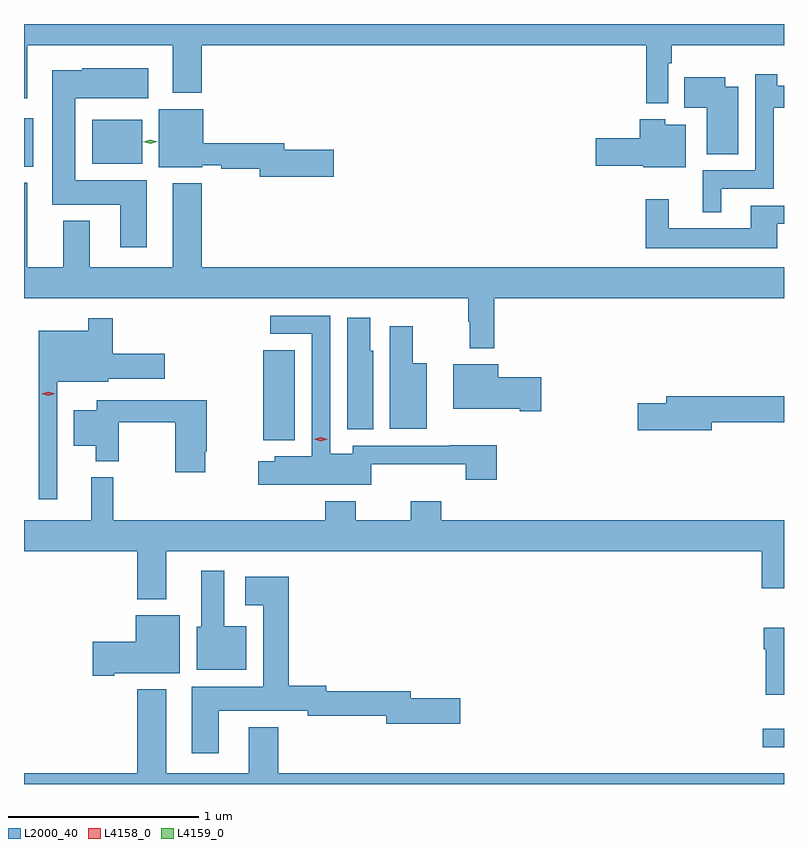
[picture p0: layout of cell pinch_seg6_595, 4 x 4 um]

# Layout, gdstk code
import gdstk
lib = gdstk.Library(unit=1e-6, precision=1e-09)
def R(c, l, rs):  # rectangles x0, y0, x1, y1
    for r in rs: c.add(gdstk.rectangle(r[:2], r[2:], *l))
def P(c, l, *ps):  # polygons
    for p in ps: c.add(gdstk.Polygon(p, *l))
L2000_40 = (2000, 40)
L4158_0 = (4158, 0)
L4159_0 = (4159, 0)

pinch_seg6_595 = lib.new_cell('pinch_seg6_595')
R(pinch_seg6_595, L2000_40, [(498.771,980.936,498.883,981.033), (496.142,982.553,496.309,983.027), (494.883,983.993,494.932,984.247), (495.242,984.008,495.505,984.238)])
P(pinch_seg6_595, L2000_40, [(494.883,984.351),(494.899,984.351),(494.899,984.632),(495.665,984.632),(495.665,984.38),(495.818,984.38),(495.818,984.632),(498.157,984.632),(498.157,984.326),(498.273,984.326),(498.273,984.536),(498.293,984.536),(498.293,984.632),(498.883,984.632),(498.883,984.743),(494.883,984.743)],
  [(495.529,983.92),(495.154,983.92),(495.154,984.353),(495.536,984.353),(495.536,984.511),(495.189,984.511),(495.189,984.499),(495.032,984.499),(495.032,983.792),(495.389,983.792),(495.389,983.568),(495.529,983.568)],
  [(498.553,983.877),(498.83,983.877),(498.83,984.301),(498.883,984.301),(498.883,984.419),(498.848,984.419),(498.848,984.478),(498.732,984.478),(498.732,983.973),(498.455,983.973),(498.455,983.753),(498.553,983.753)],
  [(498.643,984.412),(498.574,984.412),(498.574,984.463),(498.358,984.463),(498.358,984.302),(498.476,984.302),(498.476,984.058),(498.643,984.058)],
  [(496.513,984.08),(496.252,984.08),(496.252,984.116),(495.826,984.116),(495.826,984.295),(495.593,984.295),(495.593,983.99),(495.822,983.99),(495.822,984),(495.922,984),(495.922,983.98),(496.124,983.98),(496.124,983.938),(496.513,983.938)],
  [(498.367,984.214),(498.258,984.214),(498.258,984.241),(498.125,984.241),(498.125,984.143),(497.892,984.143),(497.892,983.996),(498.141,983.996),(498.141,983.99),(498.367,983.99)],
  [(497.357,983.3),(498.883,983.3),(498.883,983.464),(495.818,983.464),(495.818,983.905),(495.665,983.905),(495.665,983.464),(495.229,983.464),(495.229,983.707),(495.089,983.707),(495.089,983.464),(494.899,983.464),(494.899,983.908),(494.883,983.908),(494.883,983.3),(497.221,983.3),(497.221,983.177),(497.229,983.177),(497.229,983.037),(497.357,983.037)],
  [(498.847,983.691),(498.883,983.691),(498.883,983.787),(498.707,983.787),(498.707,983.668),(498.277,983.668),(498.277,983.821),(498.156,983.821),(498.156,983.564),(498.847,983.564)],
  [(496.71,982.427),(497.207,982.427),(497.207,982.344),(497.372,982.344),(497.372,982.526),(497.123,982.526),(497.123,982.524),(496.614,982.524),(496.614,982.48),(496.494,982.48),(496.494,983.208),(496.179,983.208),(496.179,983.112),(496.398,983.112),(496.398,982.468),(496.203,982.468),(496.203,982.441),(496.116,982.441),(496.116,982.319),(496.71,982.319)],
  [(496.72,983.022),(496.705,983.022),(496.705,983.197),(496.583,983.197),(496.583,982.609),(496.72,982.609)],
  [(495.057,982.859),(495.327,982.859),(495.327,982.877),(495.625,982.877),(495.625,983.007),(495.35,983.007),(495.35,983.194),(495.222,983.194),(495.222,983.128),(494.96,983.128),(494.96,982.242),(495.057,982.242)],
  [(497.002,982.957),(496.93,982.957),(496.93,983.152),(496.808,983.152),(496.808,982.613),(497.002,982.613)],
  [(497.605,982.884),(497.38,982.884),(497.38,982.951),(497.141,982.951),(497.141,982.718),(497.492,982.718),(497.492,982.706),(497.605,982.706)],
  [(498.502,982.648),(498.883,982.648),(498.883,982.784),(498.263,982.784),(498.263,982.748),(498.114,982.748),(498.114,982.606),(498.502,982.606)],
  [(495.838,982.495),(495.846,982.495),(495.846,982.764),(495.266,982.764),(495.266,982.711),(495.146,982.711),(495.146,982.523),(495.26,982.523),(495.26,982.442),(495.382,982.442),(495.382,982.648),(495.68,982.648),(495.68,982.383),(495.838,982.383)],
  [(495.631,981.968),(498.767,981.968),(498.767,981.774),(498.883,981.774),(498.883,982.132),(497.078,982.132),(497.078,982.231),(496.918,982.231),(496.918,982.132),(496.629,982.132),(496.629,982.231),(496.469,982.231),(496.469,982.132),(495.353,982.132),(495.353,982.357),(495.236,982.357),(495.236,982.132),(494.883,982.132),(494.883,981.968),(495.479,981.968),(495.479,981.716),(495.631,981.716)],
  [(496.054,981.574),(495.937,981.574),(495.937,981.865),(495.815,981.865),(495.815,981.57),(495.791,981.57),(495.791,981.344),(496.054,981.344)],
  [(495.907,981.128),(496.376,981.128),(496.376,981.102),(496.79,981.102),(496.79,981.059),(497.179,981.059),(497.179,981.194),(496.918,981.194),(496.918,981.23),(496.474,981.23),(496.474,981.26),(496.277,981.26),(496.277,981.835),(496.047,981.835),(496.047,981.683),(496.142,981.683),(496.142,981.256),(495.767,981.256),(495.767,980.904),(495.907,980.904)],
  [(495.358,981.326),(495.703,981.326),(495.703,981.631),(495.47,981.631),(495.47,981.492),(495.246,981.492),(495.246,981.314),(495.358,981.314)],
  [(498.883,981.565),(498.776,981.565),(498.776,981.452),(498.788,981.452),(498.788,981.212),(498.883,981.212)],
  [(498.883,980.8),(496.22,980.8),(496.22,981.043),(496.067,981.043),(496.067,980.8),(495.631,980.8),(495.631,981.241),(495.479,981.241),(495.479,980.8),(494.883,980.8),(494.883,980.743),(498.883,980.743)])
P(pinch_seg6_595, L4158_0, [(496.446,982.548),(496.411,982.557),(496.411,982.557),(496.411,982.557),(496.446,982.567),(496.481,982.558),(496.482,982.558),(496.481,982.558)],
  [(495.011,982.787),(494.976,982.798),(494.975,982.798),(494.976,982.798),(495.011,982.807),(495.047,982.796),(495.047,982.796),(495.047,982.796)])
P(pinch_seg6_595, L4159_0, [(495.548,984.114),(495.51,984.123),(495.51,984.124),(495.51,984.124),(495.548,984.134),(495.587,984.124),(495.587,984.124),(495.587,984.123)])

lib.write_gds('pinch_seg6_595.gds')
